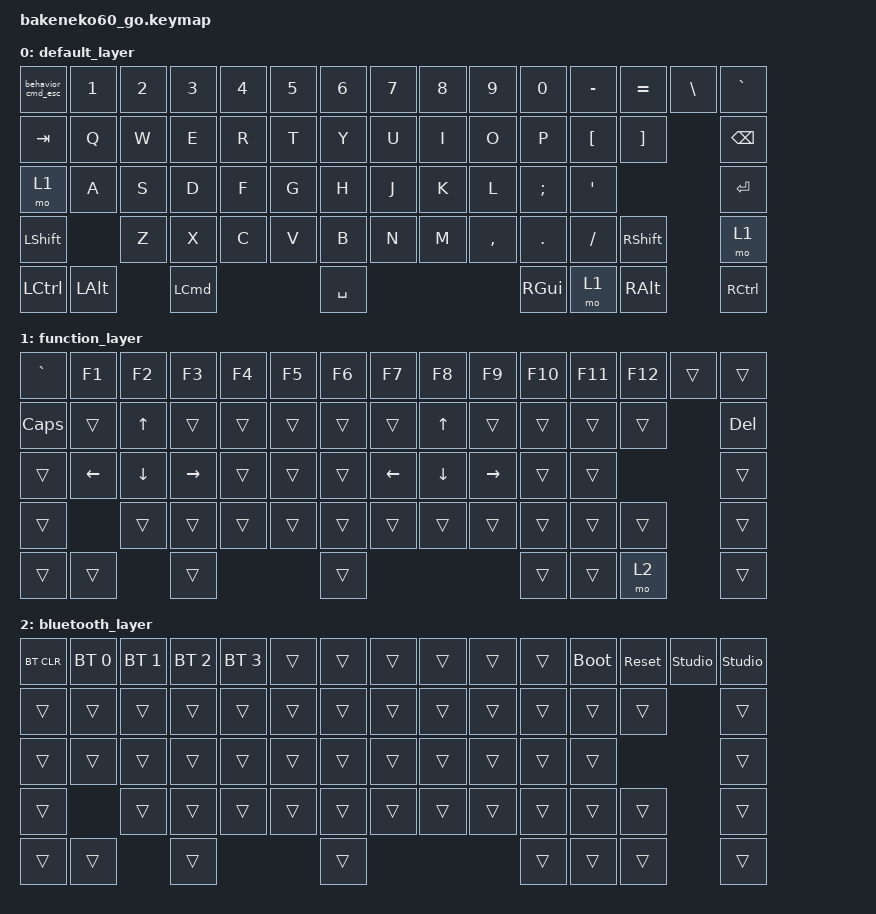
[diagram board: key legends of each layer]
/*
 * Copyright (c) 2023 Andrew Kannan
 *
 * SPDX-License-Identifier: MIT
 */

#include <behaviors.dtsi>
#include <dt-bindings/zmk/bt.h>
#include <dt-bindings/zmk/keys.h>

/ {
    behaviors {
        behavior_cmd_esc: behavior_cmd_esc {
            compatible = "zmk,behavior-mod-morph";
            label = "BEHAVIOR_CMD_ESC";
            bindings = <&kp ESC>, <&kp GRAVE>;

            #binding-cells = <0>;
            mods = <(MOD_LGUI|MOD_RGUI)>;
            keep-mods = <(MOD_LGUI|MOD_RGUI)>;
        };
    };

    keymap {
        compatible = "zmk,keymap";

        default_layer {
            bindings = <
&behavior_cmd_esc  &kp N1        &kp N2  &kp N3    &kp N4  &kp N5  &kp N6     &kp N7  &kp N8  &kp N9     &kp N0         &kp MINUS  &kp EQUAL      &kp BACKSLASH  &kp GRAVE
&kp TAB            &kp Q         &kp W   &kp E     &kp R   &kp T   &kp Y      &kp U   &kp I   &kp O      &kp P          &kp LBKT   &kp RBKT                      &kp BACKSPACE
&mo 1              &kp A         &kp S   &kp D     &kp F   &kp G   &kp H      &kp J   &kp K   &kp L      &kp SEMI       &kp SQT                                  &kp RET
&kp LSHFT                        &kp Z   &kp X     &kp C   &kp V   &kp B      &kp N   &kp M   &kp COMMA  &kp DOT        &kp FSLH   &kp RSHFT                     &mo 1
&kp LCTRL          &kp LEFT_ALT          &kp LCMD                  &kp SPACE                             &kp RIGHT_GUI  &mo 1      &kp RIGHT_ALT                 &kp RCTRL
            >;
        };

        function_layer {
            bindings = <
&kp GRAVE     &kp F1    &kp F2    &kp F3     &kp F4  &kp F5  &kp F6  &kp F7    &kp F8    &kp F9     &kp F10  &kp F11  &kp F12  &trans  &trans
&kp CAPSLOCK  &trans    &kp UP    &trans     &trans  &trans  &trans  &trans    &kp UP    &trans     &trans   &trans   &trans           &kp DEL
&trans        &kp LEFT  &kp DOWN  &kp RIGHT  &trans  &trans  &trans  &kp LEFT  &kp DOWN  &kp RIGHT  &trans   &trans                    &trans
&trans                  &trans    &trans     &trans  &trans  &trans  &trans    &trans    &trans     &trans   &trans   &trans           &trans
&trans        &trans              &trans                     &trans                                 &trans   &trans   &mo 2            &trans
            >;
        };

        bluetooth_layer {
            bindings = <
&bt BT_CLR  &bt BT_SEL 0  &bt BT_SEL 1  &bt BT_SEL 2  &bt BT_SEL 3  &trans  &trans  &trans  &trans  &trans  &trans  &bootloader  &sys_reset  &studio_unlock  &studio_unlock
&trans      &trans        &trans        &trans        &trans        &trans  &trans  &trans  &trans  &trans  &trans  &trans       &trans                      &trans
&trans      &trans        &trans        &trans        &trans        &trans  &trans  &trans  &trans  &trans  &trans  &trans                                   &trans
&trans                    &trans        &trans        &trans        &trans  &trans  &trans  &trans  &trans  &trans  &trans       &trans                      &trans
&trans      &trans                      &trans                              &trans                          &trans  &trans       &trans                      &trans
            >;
        };
    };

    combos { compatible = "zmk,combos"; };
};
